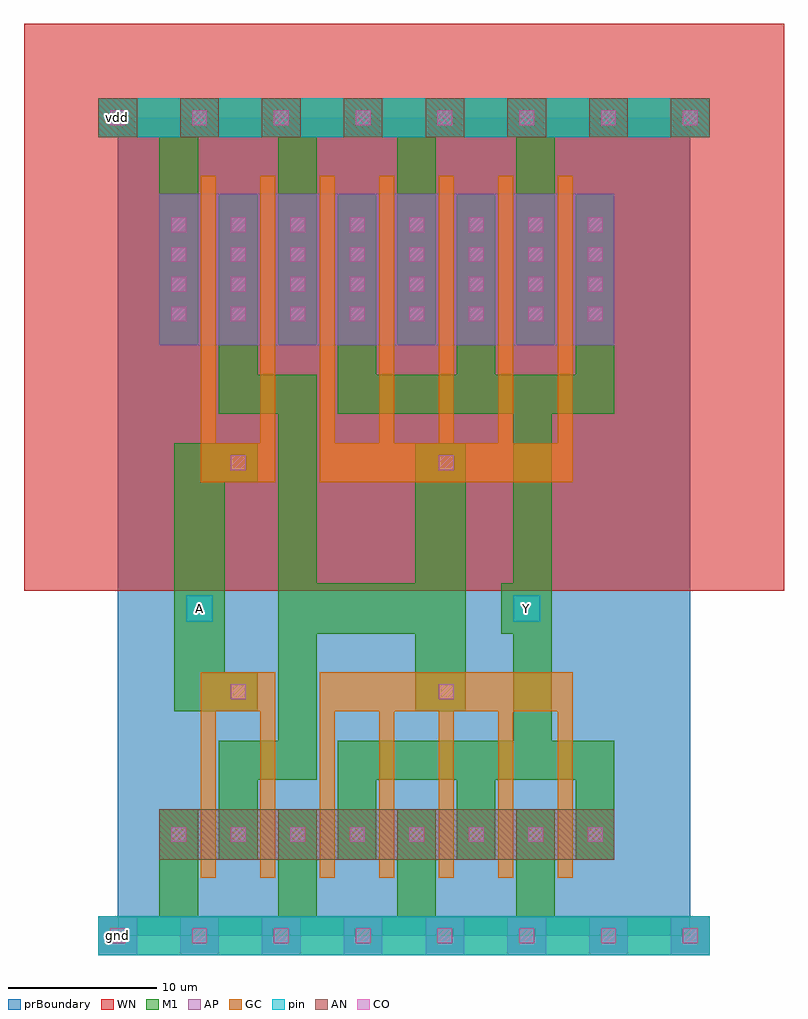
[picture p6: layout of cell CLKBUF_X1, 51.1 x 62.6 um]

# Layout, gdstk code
import gdstk
lib = gdstk.Library(unit=1e-6, precision=1e-09)
def R(c, l, rs):  # rectangles x0, y0, x1, y1
    for r in rs: c.add(gdstk.rectangle(r[:2], r[2:], *l))
def A(c, l, x, y, w, h, nx, ny, dx, dy):  # array of equal rectangles
    R(c, l, [(x+i*dx, y+j*dy, x+i*dx+w, y+j*dy+h) for i in range(nx) for j in range(ny)])
def P(c, l, *ps):  # polygons
    for p in ps: c.add(gdstk.Polygon(p, *l))
AP = (3, 1)
AN = (3, 2)
GC = (8, 1)
CO = (11, 0)
M1 = (13, 0)
pin = (48, 1)
WN = (140, 0)
prBoundary = (235, 0)

clkbuf_x1 = lib.new_cell('CLKBUF_X1')
A(clkbuf_x1, AP, -1.3, -1.3, 2.6, 2.6, 8, 1, 5.5, 0)
R(clkbuf_x1, AP, [(2.8,39.7,33.4,49.9), (2.8,39.7,33.4,49.9)])
A(clkbuf_x1, AN, -1.3, 53.7, 2.6, 2.6, 8, 1, 5.5, 0)
R(clkbuf_x1, AN, [(2.8,5.1,33.4,8.5)])
P(clkbuf_x1, GC, [(5.6,3.9),(5.6,17.7),(10.6,17.7),(10.6,3.9),(9.6,3.9),(9.6,15.1),(6.6,15.1),(6.6,3.9)],
  [(13.6,3.9),(13.6,17.7),(30.6,17.7),(30.6,3.9),(29.6,3.9),(29.6,15.1),(26.6,15.1),(26.6,3.9),(25.6,3.9),(25.6,15.1),(22.6,15.1),(22.6,3.9),(21.6,3.9),(21.6,15.1),(18.6,15.1),(18.6,3.9),(17.6,3.9),(17.6,15.1),(14.6,15.1),(14.6,3.9)],
  [(5.6,30.5),(5.6,51.1),(6.6,51.1),(6.6,33.1),(9.6,33.1),(9.6,51.1),(10.6,51.1),(10.6,30.5)],
  [(13.6,30.5),(13.6,51.1),(14.6,51.1),(14.6,33.1),(17.6,33.1),(17.6,51.1),(18.6,51.1),(18.6,33.1),(21.6,33.1),(21.6,51.1),(22.6,51.1),(22.6,33.1),(25.6,33.1),(25.6,51.1),(26.6,51.1),(26.6,33.1),(29.6,33.1),(29.6,51.1),(30.6,51.1),(30.6,30.5)])
A(clkbuf_x1, CO, -0.5, -0.5, 1, 1, 8, 2, 5.5, 55)
A(clkbuf_x1, CO, 3.6, 6.3, 1, 1, 3, 2, 4, 35)
A(clkbuf_x1, CO, 11.6, 6.3, 1, 1, 6, 2, 4, 35)
A(clkbuf_x1, CO, 3.6, 43.3, 1, 1, 3, 3, 4, 2)
A(clkbuf_x1, CO, 11.6, 43.3, 1, 1, 6, 3, 4, 2)
R(clkbuf_x1, CO, [(7.6,15.9,8.6,16.9), (21.6,15.9,22.6,16.9), (21.6,15.9,22.6,16.9), (7.6,31.3,8.6,32.3), (21.6,31.3,22.6,32.3)])
P(clkbuf_x1, M1, [(-1.3,-1.3),(-1.3,1.3),(2.8,1.3),(2.8,8.5),(5.4,8.5),(5.4,1.3),(10.8,1.3),(10.8,8.5),(13.4,8.5),(13.4,1.3),(18.8,1.3),(18.8,8.5),(21.4,8.5),(21.4,1.3),(26.8,1.3),(26.8,8.5),(29.4,8.5),(29.4,1.3),(39.8,1.3),(39.8,-1.3)],
  [(3.8,15.1),(3.8,33.1),(9.4,33.1),(9.4,30.5),(7.2,30.5),(7.2,17.7),(9.4,17.7),(9.4,15.1)],
  [(6.8,5.1),(6.8,13.1),(10.8,13.1),(10.8,35.1),(6.8,35.1),(6.8,49.9),(9.4,49.9),(9.4,37.7),(13.4,37.7),(13.4,23.7),(20,23.7),(20,33.1),(23.4,33.1),(23.4,15.1),(20,15.1),(20,20.3),(13.4,20.3),(13.4,10.5),(9.4,10.5),(9.4,5.1)],
  [(14.8,5.1),(14.8,13.1),(26.6,13.1),(26.6,20.3),(25.8,20.3),(25.8,23.7),(26.6,23.7),(26.6,35.1),(14.8,35.1),(14.8,49.9),(17.4,49.9),(17.4,37.7),(22.8,37.7),(22.8,49.9),(25.4,49.9),(25.4,37.7),(30.8,37.7),(30.8,49.9),(33.4,49.9),(33.4,35.1),(29.2,35.1),(29.2,13.1),(33.4,13.1),(33.4,5.1),(30.8,5.1),(30.8,10.5),(25.4,10.5),(25.4,5.1),(22.8,5.1),(22.8,10.5),(17.4,10.5),(17.4,5.1)],
  [(2.8,39.7),(2.8,53.7),(-1.3,53.7),(-1.3,56.3),(39.8,56.3),(39.8,53.7),(29.4,53.7),(29.4,39.7),(26.8,39.7),(26.8,53.7),(21.4,53.7),(21.4,39.7),(18.8,39.7),(18.8,53.7),(13.4,53.7),(13.4,39.7),(10.8,39.7),(10.8,53.7),(5.4,53.7),(5.4,39.7)])
R(clkbuf_x1, pin, [(-1.3,-1.3,39.8,1.3), (4.6,21.1,6.4,22.9), (26.6,21.1,28.4,22.9), (-1.3,53.7,39.8,56.3)])
R(clkbuf_x1, WN, [(-6.3,23.2,44.8,61.3)])
R(clkbuf_x1, prBoundary, [(0,0,38.5,55)])
clkbuf_x1.add(gdstk.Label('vdd', (0,55), layer=48, texttype=0))
clkbuf_x1.add(gdstk.Label('A', (5.5,22), layer=48, texttype=0))
clkbuf_x1.add(gdstk.Label('gnd', (0,0), layer=48, texttype=0))
clkbuf_x1.add(gdstk.Label('Y', (27.5,22), layer=48, texttype=0))

lib.write_gds('CLKBUF_X1.gds')
